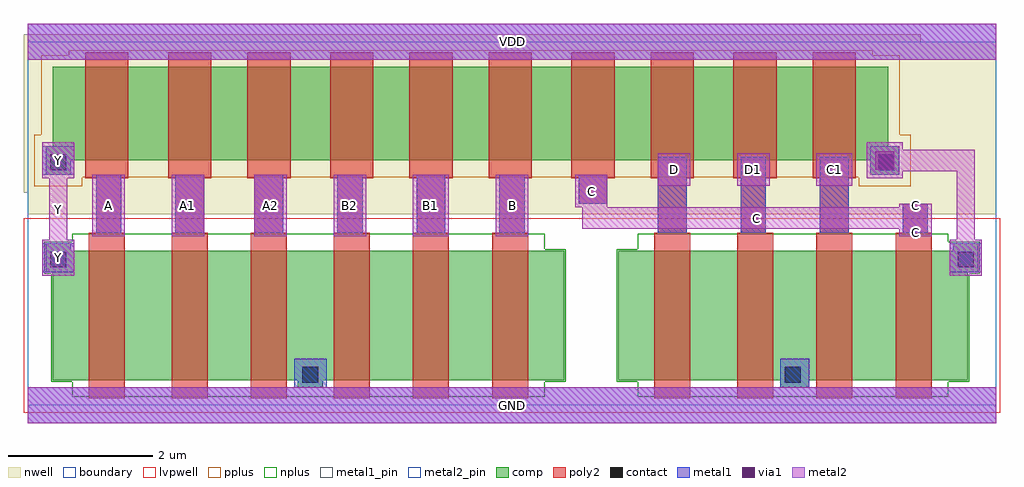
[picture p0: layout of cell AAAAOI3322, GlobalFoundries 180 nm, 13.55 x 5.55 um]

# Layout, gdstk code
import gdstk
lib = gdstk.Library(unit=1e-6, precision=1e-09)
def R(c, l, rs):  # rectangles x0, y0, x1, y1
    for r in rs: c.add(gdstk.rectangle(r[:2], r[2:], *l))
def A(c, l, x, y, w, h, nx, ny, dx, dy):  # array of equal rectangles
    R(c, l, [(x+i*dx, y+j*dy, x+i*dx+w, y+j*dy+h) for i in range(nx) for j in range(ny)])
boundary = (0, 0)
nwell = (21, 0)
comp = (22, 0)
poly2 = (30, 0)
pplus = (31, 0)
nplus = (32, 0)
contact = (33, 0)
metal1 = (34, 0)
metal1_pin = (34, 10)
via1 = (35, 0)
metal2 = (36, 0)
metal2_pin = (36, 10)
lvpwell = (204, 0)

aaaaoi3322 = lib.new_cell('AAAAOI3322')
R(aaaaoi3322, boundary, [(0,0,13.45,5.05)])
R(aaaaoi3322, nwell, [(0,2.65,13.45,2.95), (-0.05,2.95,13.45,5.05), (-0.05,5.05,12.4,5.15)])
R(aaaaoi3322, comp, [(3.75,0.25,4.1,0.35), (10.45,0.25,10.85,0.35), (0.35,0.35,7.45,1.85), (8.2,0.35,13.05,1.85), (0.25,1.85,7.45,2.15), (8.2,1.85,13.2,2.15), (0.25,2.15,0.6,2.25), (12.85,2.15,13.2,2.25), (0.25,3.2,0.6,3.4), (11.7,3.2,12.1,3.4), (0.25,3.4,12.1,3.6), (0.35,3.6,11.95,4.7)])
A(aaaaoi3322, poly2, 4.25, 0.1, 0.5, 2.3, 3, 1, 1.1, 0)
A(aaaaoi3322, poly2, 9.85, 0.1, 0.5, 2.3, 3, 1, 1.1, 0)
A(aaaaoi3322, poly2, 4.2, 3.15, 0.6, 1.75, 3, 1, 1.1, 0)
R(aaaaoi3322, poly2, [(0.85,0.1,1.35,2.4), (2,0.1,2.5,2.4), (3.1,0.1,3.6,2.4), (8.7,0.1,9.2,2.4), (0.95,2.4,1.3,3.15), (2.05,2.4,2.45,3.15), (3.15,2.4,3.55,3.15), (4.3,2.4,4.65,3.15), (5.4,2.4,5.8,3.15), (6.55,2.4,6.9,3.15), (8.75,2.4,9.15,3.15), (9.9,2.4,10.25,3.15), (11,2.4,11.4,3.15), (12.15,2.4,12.5,2.8), (7.65,2.8,8.05,3.15), (0.8,3.15,1.4,4.9), (1.95,3.15,2.55,4.9), (3.05,3.15,3.65,4.9), (7.55,3.15,8.15,4.9), (8.65,3.15,9.25,4.9), (9.8,3.15,10.4,4.9), (10.9,3.15,11.5,4.9)])
R(aaaaoi3322, pplus, [(0.09,3.04,0.76,3.17), (11.54,3.04,12.26,3.17), (0.09,3.17,12.26,3.76), (0.19,3.76,12.11,4.86), (0.57,4.86,11.73,4.93)])
R(aaaaoi3322, nplus, [(0.62,0.12,7.18,0.33), (8.47,0.12,12.78,0.33), (0.33,0.33,7.47,1.83), (8.18,0.33,13.07,1.83), (0.23,1.83,7.47,2.17), (8.18,1.83,13.22,2.17), (0.23,2.17,7.18,2.27), (8.47,2.17,13.22,2.27), (0.62,2.27,7.18,2.38), (8.47,2.27,12.78,2.38)])
R(aaaaoi3322, contact, [(3.815,0.315,4.035,0.535), (10.515,0.315,10.735,0.535), (0.315,1.915,0.535,2.135), (12.915,1.915,13.135,2.135), (0.315,3.265,0.535,3.485), (11.815,3.265,12.035,3.485)])
R(aaaaoi3322, metal1, [(0,-0.25,13.45,0.25), (3.7,0.25,4.15,0.65), (10.45,0.25,10.85,0.65), (0.2,1.85,0.65,2.25), (12.8,1.85,13.25,2.25), (0.95,2.4,1.3,3.2), (2.05,2.4,2.45,3.2), (3.15,2.4,3.55,3.2), (4.3,2.4,4.65,3.2), (5.4,2.4,5.8,3.2), (6.55,2.4,6.9,3.2), (8.75,2.4,9.15,3.45), (9.9,2.4,10.25,3.45), (11,2.4,11.4,3.45), (12.15,2.4,12.5,2.8), (7.65,2.8,8.05,3.2), (0.2,3.2,0.65,3.6), (11.7,3.2,12.1,3.6), (0,4.8,13.45,5.3)])
R(aaaaoi3322, metal1_pin, [(0,-0.25,13.45,0.25), (0,4.8,13.45,5.3)])
R(aaaaoi3322, via1, [(11.77,3.27,12.03,3.53)])
R(aaaaoi3322, metal2, [(0,-0.25,13.45,0.25), (0.2,1.8,0.65,2.3), (12.8,1.8,13.25,2.3), (0.3,2.3,0.55,3.15), (12.9,2.3,13.15,3.25), (0.9,2.35,1.35,3.2), (2,2.35,2.45,3.2), (3.15,2.35,3.6,3.2), (4.25,2.35,4.7,3.2), (5.35,2.35,5.85,3.2), (6.5,2.35,6.95,3.2), (12.1,2.35,12.55,2.45), (7.7,2.45,12.55,2.75), (7.6,2.75,8.05,3.2), (12.1,2.75,12.55,2.8), (8.75,3.05,9.2,3.5), (9.85,3.05,10.3,3.5), (10.95,3.05,11.45,3.5), (0.2,3.15,0.65,3.65), (11.65,3.15,12.15,3.25), (11.65,3.25,13.15,3.55), (11.65,3.55,12.15,3.65), (0,4.8,13.45,5.3)])
R(aaaaoi3322, metal2_pin, [(0.2,1.8,0.65,2.3), (0.3,2.3,0.55,3.15), (0.9,2.35,1.35,3.2), (2,2.35,2.45,3.2), (3.15,2.35,3.6,3.2), (4.25,2.35,4.7,3.2), (5.35,2.35,5.85,3.2), (6.5,2.35,6.95,3.2), (12.1,2.35,12.55,2.45), (7.7,2.45,12.55,2.75), (7.6,2.75,8.05,3.2), (12.1,2.75,12.55,2.8), (8.75,3.05,9.2,3.5), (9.85,3.05,10.3,3.5), (10.95,3.05,11.45,3.5), (0.2,3.15,0.65,3.65)])
R(aaaaoi3322, lvpwell, [(-0.05,-0.1,13.5,2.6)])
aaaaoi3322.add(gdstk.Label('VDD', (6.725,5.05), layer=34, texttype=10))
aaaaoi3322.add(gdstk.Label('GND', (6.725,0), layer=34, texttype=10))
aaaaoi3322.add(gdstk.Label('Y', (0.425,2.05), layer=36, texttype=10))
aaaaoi3322.add(gdstk.Label('Y', (0.425,2.725), layer=36, texttype=10))
aaaaoi3322.add(gdstk.Label('Y', (0.425,3.4), layer=36, texttype=10))
aaaaoi3322.add(gdstk.Label('D', (8.975,3.275), layer=36, texttype=10))
aaaaoi3322.add(gdstk.Label('C1', (11.2,3.275), layer=36, texttype=10))
aaaaoi3322.add(gdstk.Label('B2', (4.475,2.775), layer=36, texttype=10))
aaaaoi3322.add(gdstk.Label('B1', (5.6,2.775), layer=36, texttype=10))
aaaaoi3322.add(gdstk.Label('C', (12.325,2.4), layer=36, texttype=10))
aaaaoi3322.add(gdstk.Label('C', (10.125,2.6), layer=36, texttype=10))
aaaaoi3322.add(gdstk.Label('C', (12.325,2.775), layer=36, texttype=10))
aaaaoi3322.add(gdstk.Label('C', (7.825,2.975), layer=36, texttype=10))
aaaaoi3322.add(gdstk.Label('A', (1.125,2.775), layer=36, texttype=10))
aaaaoi3322.add(gdstk.Label('A2', (3.375,2.775), layer=36, texttype=10))
aaaaoi3322.add(gdstk.Label('B', (6.725,2.775), layer=36, texttype=10))
aaaaoi3322.add(gdstk.Label('A1', (2.225,2.775), layer=36, texttype=10))
aaaaoi3322.add(gdstk.Label('D1', (10.075,3.275), layer=36, texttype=10))

lib.write_gds('AAAAOI3322.gds')
